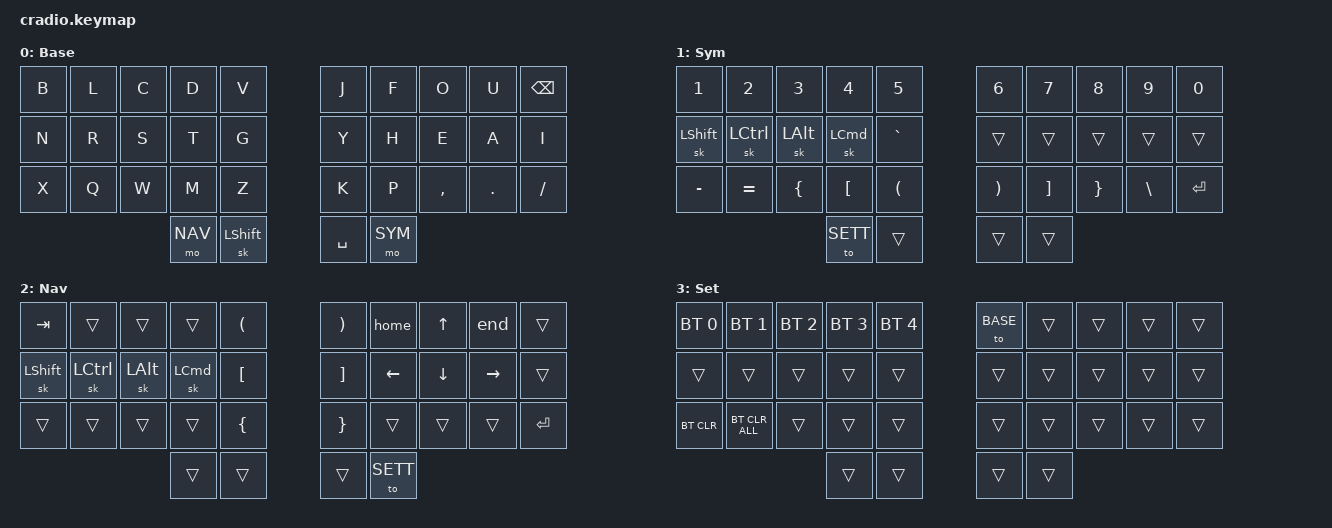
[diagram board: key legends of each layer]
/*
 * Copyright (c) 2020 The ZMK Contributors
 *
 * SPDX-License-Identifier: MIT
 */

#include <behaviors.dtsi>
#include <dt-bindings/zmk/keys.h>
#include <dt-bindings/zmk/bt.h>

#define BASE 0
#define SYM  1
#define NAV  2
#define SETT 3

#define AS(keycode) &as LS(keycode) keycode

/ {
    behaviors {
        as: auto_shift {
            compatible = "zmk,behavior-hold-tap";
            #binding-cells = <2>;
            tapping_term_ms = <200>;
            quick_tap_ms = <0>;
            flavor = "tap-preferred";
            bindings = <&kp>, <&kp>;
        };

        ht: hold_tap {
            compatible = "zmk,behavior-hold-tap";
            #binding-cells = <2>;
            flavor = "balanced";
            tapping-term-ms = <280>;
            quick-tap-ms = <200>;
            bindings = <&kp>, <&kp>;
        };
    };

    macros {
        home: home {
            compatible = "zmk,behavior-macro";
            #binding-cells = <0>;
            bindings
                = <&macro_press &kp LCTRL>
                , <&macro_tap &kp A>
                , <&macro_release &kp LCTRL>
                ;
        };
        end: end {
            compatible = "zmk,behavior-macro";
            #binding-cells = <0>;
            bindings
                = <&macro_press &kp LCTRL>
                , <&macro_tap &kp E>
                , <&macro_release &kp LCTRL>
                ;
        };
    };

    combos {
        compatible = "zmk,combos";
        combo_alt_bspc {
            timeout-ms = <50>;
            key-positions = <8 9>;
            bindings = <&kp LA(BSPC)>;
        };
    };

    keymap {
            compatible = "zmk,keymap";


    default_layer {
        display-name = "Base";
        bindings = <
    //╭──────────┬──────────┬──────────┬──────────┬──────────╮             ╭──────────┬──────────┬──────────┬──────────┬──────────╮
    //│    B     │    L     │    C     │    D     │    V     │             │    J     │    F     │    O     │    U     │   BSPC   │
         &kp B      &kp L      &kp C       &kp D     &kp V                    &kp J      &kp F      &kp O      &kp U     &kp BSPC
    //├──────────┼──────────┼──────────┼──────────┼──────────┤             ├──────────┼──────────┼──────────┼──────────┼──────────┤
    //│    N     │    R     │    S     │     T    │     G    │             │    Y     │   H      │     E    │     A    │    I     |
         &kp N      &kp R      &kp S       &kp T      &kp G                   &kp Y      &kp H       &kp E      &kp A     &kp I 
    //├──────────┼──────────┼──────────┼──────────┼──────────┤             ├──────────┼──────────┼──────────┼──────────┼──────────┤
    //│    X     │    Q     │    W     │    M     │    Z     │             │    K     │    P     │   , <    │   . >    │   / ?    |
        &kp X      &kp Q      &kp W      &kp M      &kp Z                    &kp K     &kp P      &kp COMMA  &kp DOT     &kp FSLH
    //╰──────────┴──────────┼──────────┼──────────┼──────────┤             ├──────────┼──────────┼──────────┴──────────┴──────────╯
    //                                    MO(NAV)       LSHIFT             SPACE         MO(SYM)          
                                          &mo NAV    &sk LSHIFT           &kp SPACE      &mo SYM       
    //                                 ╰──────────┴──────────╯             ╰──────────┴──────────╯
        >;
    };



    symbol_layer {
        display-name = "Sym";
        bindings = <

    // ╭────────────┬────────────┬────────────┬────────────┬────────────╮             ╭────────────┬────────────┬────────────┬────────────┬────────────╮
    // |     1 !    |     2 @    |     3 #    |     4 $    |     5 %    |             |     6 ^    |     7 &    |     8 *    |     9 (    |     0 )    |
           &kp N1       &kp N2       &kp N3       &kp N4       &kp N5                     &kp N6       &kp N7        &kp N8       &kp N9       &kp N0
    // ├────────────┼────────────┼────────────┼────────────┼────────────┤             ├────────────┼────────────┼────────────┼────────────┼────────────┤
    // |    SHIFT   |    CTRL    |     ALT    |     CMD    |     ` ~    |             |            |            |            |            |            |
          &sk LSHFT    &sk LCTRL    &sk LALT     &sk LCMD     &kp GRAVE                  &trans        &trans       &trans       &trans       &trans
    // ├────────────┼────────────┼────────────┼────────────┼────────────┤             ├────────────┼────────────┼────────────┼────────────┼────────────┤
    // |     - _    |     = +    |     {      |     [      |     (      |             |     )      |     ]      |     }      |     \ |    |     RET    |
         &kp MINUS     &kp EQUAL    &kp LBRC     &kp LBKT     &kp LPAR                   &kp RPAR     &kp RBKT     &kp RBRC     &kp BSLH      &kp RET
    // ├────────────┼────────────┼────────────┼────────────┼────────────┤             ├────────────┼────────────┼────────────┼────────────┼────────────┤
    //                                           SETTINGS                                     
                                                 &to SETT       &trans                    &trans       &trans      
    //                                        ╰────────────┴────────────╯             ╰────────────┴────────────╯
        >;
    };


    navigation_layer {
        display-name = "Nav";
        bindings = <
    //╭──────────┬──────────┬──────────┬──────────┬──────────╮             ╭──────────┬──────────┬──────────┬──────────┬──────────╮
    //    TAB                                          (                          )       HOME        UP        END
        &kp TAB     &trans     &trans     &trans     &kp LPAR                &kp RPAR     &home     &kp UP      &end      &trans 
    //├──────────┼──────────┼──────────┼──────────┼──────────┤             ├──────────┼──────────┼──────────┼──────────┼──────────┤
    //   SHIFT       CTRL       ALT        CMD          [                       ]         LEFT       DOWN       RIGHT
      &sk LSHFT    &sk LCTRL  &sk LALT   &sk LCMD   &kp LBKT                &kp RBKT    &kp LEFT   &kp DOWN   &kp RIGHT   &trans 
    //├──────────┼──────────┼──────────┼──────────┼──────────┤             ├──────────┼──────────┼──────────┼──────────┼──────────┤
    //                                                 {                          }                                       RETURN
        &trans      &trans     &trans     &trans     &kp LBRC                &kp RBRC    &trans      &trans     &trans    &kp RET 
    //╰──────────┴──────────┼──────────┼──────────┼──────────┤             ├──────────┼──────────┼──────────┴──────────┴──────────╯
    //                                                                                  SETTINGS
                                          &trans     &trans                   &trans    &to SETT
    //                                 ╰──────────┴──────────╯             ╰──────────┴──────────╯
        >;
    };


    settings_layer {
        display-name = "Set";
        bindings = <
    //╭────────────────┬────────────────┬────────────────┬────────────────┬────────────────╮             ╭──────────┬──────────┬──────────┬──────────┬──────────╮
    //      BT-0              BT-1             BT-2             BT-3             BT-4
        &bt BT_SEL 0      &bt BT_SEL 1     &bt BT_SEL 2     &bt BT_SEL 3     &bt BT_SEL 4                  &to BASE    &trans     &trans     &trans     &trans 
    //├────────────────┼────────────────┼────────────────┼────────────────┼────────────────┤             ├──────────┼──────────┼──────────┼──────────┼──────────┤
           &trans            &trans           &trans           &trans           &trans                      &trans     &trans     &trans     &trans     &trans 
    //├────────────────┼────────────────┼────────────────┼────────────────┼────────────────┤             ├──────────┼──────────┼──────────┼──────────┼──────────┤
    //  BT CLEAR         BT CLEAR ALL
        &bt BT_CLR       &bt BT_CLR_ALL       &trans           &trans           &trans                      &trans     &trans     &trans     &trans     &trans 
    //╰────────────────┴────────────────┼────────────────┼────────────────┼────────────────┤             ├──────────┼──────────┼──────────┴──────────┴──────────╯
                                                               &trans            &trans                     &trans     &trans 
    //                                                   ╰────────────────┴────────────────╯             ╰──────────┴──────────╯
        >;
    };
        };
};
